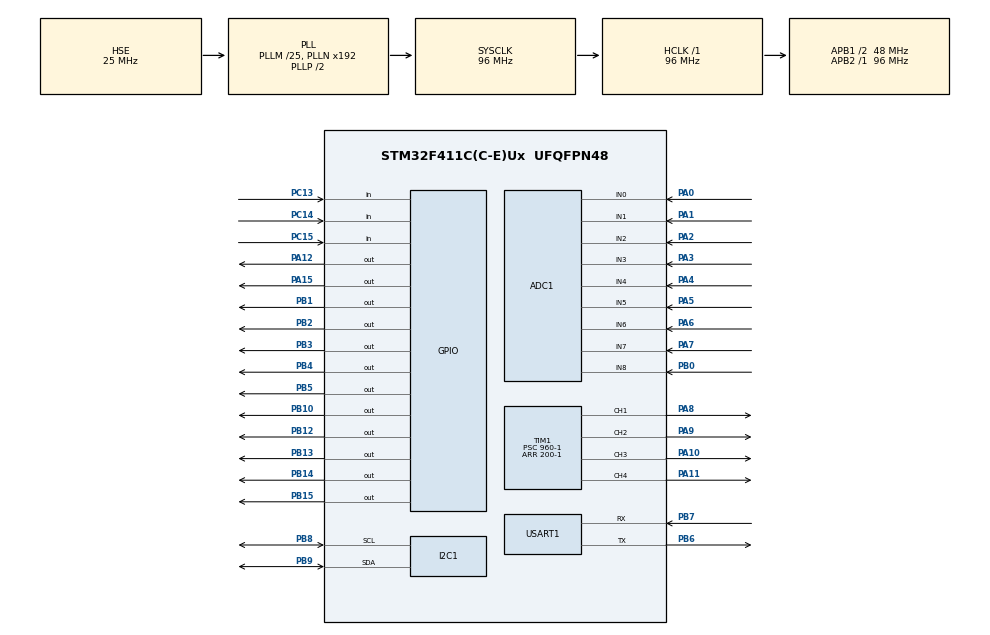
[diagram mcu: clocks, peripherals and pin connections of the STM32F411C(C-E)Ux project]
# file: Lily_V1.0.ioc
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ADC1.Channel-0\#ChannelRegularConversion=ADC_CHANNEL_0
ADC1.Channel-1\#ChannelInjectedConversion=ADC_CHANNEL_0
ADC1.ClockPrescaler=ADC_CLOCK_SYNC_PCLK_DIV4
ADC1.InjNumberOfConversion=1
ADC1.InjectedOffset-1\#ChannelInjectedConversion=0
ADC1.InjectedRank-1\#ChannelInjectedConversion=1
ADC1.NbrOfConversionFlag=1
ADC1.Rank-0\#ChannelRegularConversion=1
ADC1.SamplingTime-0\#ChannelRegularConversion=ADC_SAMPLETIME_480CYCLES
ADC1.SamplingTime-1\#ChannelInjectedConversion=ADC_SAMPLETIME_3CYCLES
ADC1.master=1
Dma.ADC1.0.Direction=DMA_PERIPH_TO_MEMORY
Dma.ADC1.0.FIFOMode=DMA_FIFOMODE_DISABLE
Dma.ADC1.0.Instance=DMA2_Stream0
Dma.ADC1.0.MemDataAlignment=DMA_MDATAALIGN_HALFWORD
Dma.ADC1.0.MemInc=DMA_MINC_ENABLE
Dma.ADC1.0.Mode=DMA_NORMAL
Dma.ADC1.0.PeriphDataAlignment=DMA_PDATAALIGN_HALFWORD
Dma.ADC1.0.PeriphInc=DMA_PINC_DISABLE
Dma.ADC1.0.Priority=DMA_PRIORITY_LOW
Dma.Request0=ADC1
Dma.Request1=USART1_RX
Dma.USART1_RX.1.Direction=DMA_PERIPH_TO_MEMORY
Dma.USART1_RX.1.FIFOMode=DMA_FIFOMODE_DISABLE
Dma.USART1_RX.1.Instance=DMA2_Stream2
Dma.USART1_RX.1.MemDataAlignment=DMA_MDATAALIGN_BYTE
Dma.USART1_RX.1.MemInc=DMA_MINC_ENABLE
Dma.USART1_RX.1.Mode=DMA_NORMAL
Dma.USART1_RX.1.PeriphDataAlignment=DMA_PDATAALIGN_BYTE
Dma.USART1_RX.1.PeriphInc=DMA_PINC_DISABLE
Dma.USART1_RX.1.Priority=DMA_PRIORITY_LOW
Mcu.Family=STM32F4
Mcu.Name=STM32F411C(C-E)Ux
Mcu.Package=UFQFPN48
NVIC.ADC_IRQn=true\:0\:0\:false\:false\:true\:true\:true\:true
NVIC.DMA2_Stream0_IRQn=true\:0\:0\:false\:false\:true\:false\:true\:true
NVIC.DMA2_Stream2_IRQn=true\:0\:0\:false\:false\:true\:false\:true\:true
NVIC.PriorityGroup=NVIC_PRIORITYGROUP_4
NVIC.USART1_IRQn=true\:0\:0\:false\:false\:true\:true\:true\:true
NimaLTD.I-CUBE-EE.3.2.2.EE_MANUAL_CONFIG=true
PA0-WKUP.Signal=ADCx_IN0
PA1.Signal=ADCx_IN1
PA10.Signal=S_TIM1_CH3
PA11.Signal=S_TIM1_CH4
PA12.Signal=GPIO_Output
PA13.Mode=Serial_Wire
PA13.Signal=SYS_JTMS-SWDIO
PA14.Mode=Serial_Wire
PA14.Signal=SYS_JTCK-SWCLK
PA15.Signal=GPIO_Output
PA2.Signal=ADCx_IN2
PA3.Signal=ADCx_IN3
PA4.Signal=ADCx_IN4
PA5.Signal=ADCx_IN5
PA6.Signal=ADCx_IN6
PA7.Signal=ADCx_IN7
PA8.Signal=S_TIM1_CH1
PA9.Signal=S_TIM1_CH2
PB0.Signal=ADCx_IN8
PB1.Signal=GPIO_Output
PB10.Signal=GPIO_Output
PB12.Signal=GPIO_Output
PB13.Signal=GPIO_Output
PB14.Signal=GPIO_Output
PB15.Signal=GPIO_Output
PB2.Signal=GPIO_Output
PB3.Signal=GPIO_Output
PB4.Signal=GPIO_Output
PB5.Signal=GPIO_Output
PB6.Mode=Asynchronous
PB6.Signal=USART1_TX
PB7.Mode=Asynchronous
PB7.Signal=USART1_RX
PB8.Mode=I2C
PB8.Signal=I2C1_SCL
PB9.Mode=I2C
PB9.Signal=I2C1_SDA
PC13-ANTI_TAMP.Signal=GPIO_Input
PC14-OSC32_IN.Signal=GPIO_Input
PC15-OSC32_OUT.Signal=GPIO_Input
PH0\ -\ OSC_IN.Mode=HSE-External-Oscillator
PH0\ -\ OSC_IN.Signal=RCC_OSC_IN
PH1\ -\ OSC_OUT.Mode=HSE-External-Oscillator
PH1\ -\ OSC_OUT.Signal=RCC_OSC_OUT
ProjectManager.HeapSize=0x200
ProjectManager.StackSize=0x400
ProjectManager.TargetToolchain=STM32CubeIDE
RCC.48MHZClocksFreq_Value=48000000
RCC.AHBFreq_Value=96000000
RCC.APB1CLKDivider=RCC_HCLK_DIV2
RCC.APB1Freq_Value=48000000
RCC.APB1TimFreq_Value=96000000
RCC.APB2Freq_Value=96000000
RCC.APB2TimFreq_Value=96000000
RCC.CortexFreq_Value=96000000
RCC.HCLKFreq_Value=96000000
RCC.HSE_VALUE=25000000
RCC.HSI_VALUE=16000000
RCC.LSE_VALUE=32768
RCC.PLLM=25
RCC.PLLSourceVirtual=RCC_PLLSOURCE_HSE
RCC.SYSCLKFreq_VALUE=96000000
RCC.SYSCLKSource=RCC_SYSCLKSOURCE_PLLCLK
RCC.VCOOutputFreq_Value=192000000
SH.ADCx_IN0.0=ADC1_IN0,IN0
SH.ADCx_IN1.0=ADC1_IN1,IN1
SH.ADCx_IN2.0=ADC1_IN2,IN2
SH.ADCx_IN3.0=ADC1_IN3,IN3
SH.ADCx_IN4.0=ADC1_IN4,IN4
SH.ADCx_IN5.0=ADC1_IN5,IN5
SH.ADCx_IN6.0=ADC1_IN6,IN6
SH.ADCx_IN7.0=ADC1_IN7,IN7
SH.ADCx_IN8.0=ADC1_IN8,IN8
SH.S_TIM1_CH1.0=TIM1_CH1,PWM Generation1 CH1
SH.S_TIM1_CH2.0=TIM1_CH2,PWM Generation2 CH2
SH.S_TIM1_CH3.0=TIM1_CH3,PWM Generation3 CH3
SH.S_TIM1_CH4.0=TIM1_CH4,PWM Generation4 CH4
TIM1.Channel-PWM\ Generation1\ CH1=TIM_CHANNEL_1
TIM1.Channel-PWM\ Generation2\ CH2=TIM_CHANNEL_2
TIM1.Channel-PWM\ Generation3\ CH3=TIM_CHANNEL_3
TIM1.Channel-PWM\ Generation4\ CH4=TIM_CHANNEL_4
TIM1.Period=200-1
TIM1.Prescaler=960-1
TIM2.Period=4294967295-1
TIM2.Prescaler=96-1
USART1.VirtualMode=VM_ASYNC
VP_TIM1_VS_ClockSourceINT.Mode=Internal
VP_TIM2_VS_ClockSourceINT.Mode=Internal
board=custom

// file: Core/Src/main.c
/* USER CODE BEGIN Header */
/**
  ******************************************************************************
  * @file           : main.c
  * @brief          : Main program body
  ******************************************************************************
  * @attention
  *
  * Copyright (c) 2025 STMicroelectronics.
  * All rights reserved.
  *
  * This software is licensed under terms that can be found in the LICENSE file
  * in the root directory of this software component.
  * If no LICENSE file comes with this software, it is provided AS-IS.
  *
  ******************************************************************************
  */
/* USER CODE END Header */
#include "main.h"

/* USER CODE BEGIN Includes */
#include "stdlib.h"
#include "math.h"
#include "string.h"
#include <stdio.h>
/* USER CODE END Includes */

/* USER CODE BEGIN PTD */
typedef struct __attribute__((packed)) {
  char header_start;         // Should be '<'
  char header_end;           // Should be '>'
  float position;
  uint8_t sensor_bools[9];    // 1 or 0 for each sensor
} SimplifiedTelemetryPacket;
/* USER CODE END PTD */

ADC_HandleTypeDef hadc1;
DMA_HandleTypeDef hdma_adc1;

I2C_HandleTypeDef hi2c1;

TIM_HandleTypeDef htim1;
TIM_HandleTypeDef htim2;

UART_HandleTypeDef huart1;
DMA_HandleTypeDef hdma_usart1_rx;

/* USER CODE BEGIN PV */

//SENSOR READING FUNCTION
volatile int SensorIndex=0;

GPIO_TypeDef* IR_LED_PORTS[9] = { GPIOB, GPIOB, GPIOB, GPIOB, GPIOA, GPIOA, GPIOB, GPIOB, GPIOB};
uint32_t IR_LED_PINS[9] = {GPIO_PIN_12, GPIO_PIN_13, GPIO_PIN_14, GPIO_PIN_15, GPIO_PIN_12, GPIO_PIN_15, GPIO_PIN_3, GPIO_PIN_4, GPIO_PIN_5};
uint32_t SensorAdcChannel[9] = {
    ADC_CHANNEL_8, // sensor 0 → PB12
    ADC_CHANNEL_7, // sensor 1 → PB13
    ADC_CHANNEL_6, // sensor 2 → PB14
    ADC_CHANNEL_5, // sensor 3 → PB15
    ADC_CHANNEL_4, // sensor 4 → PA12
    ADC_CHANNEL_3, // sensor 5 → PA15
    ADC_CHANNEL_2, // sensor 6 → PB3
    ADC_CHANNEL_1, // sensor 7 → PA4
    ADC_CHANNEL_0, // sensor 8 → PB5
};
volatile int ADC_DONE=0;
volatile uint32_t adc_buf=0;
volatile uint32_t SensorValues[9];
volatile uint32_t sensors_time;
volatile uint32_t run_time;
volatile uint32_t LastPIDTime;

//PID Variables
int thresh=1700;
int weights[9]={-40,-30,-20,-10,0,10,20,30,40};
double Kp = 2.0f, Ki = 0.0f, Kd = 0.5f;
int position,error;
int setpoint=0;
uint8_t base_speed = 60;
uint8_t turn_speed = 50;
int turn=1;

double P, I, D;
double correction = 0, lastInput = 0;
double lastTime = 0;
double integralMin = -25.0, integralMax = 25.0;

volatile uint32_t LastWifiTime=0;
#define RX_BUFFER_SIZE 32
uint8_t rx_buffer[RX_BUFFER_SIZE];

/* USER CODE END PV */

void SystemClock_Config(void);
static void MX_GPIO_Init(void);
static void MX_DMA_Init(void);
static void MX_ADC1_Init(void);
static void MX_TIM1_Init(void);
static void MX_TIM2_Init(void);
static void MX_I2C1_Init(void);
static void MX_USART1_UART_Init(void);
/* USER CODE BEGIN PFP */
void ReadSensors();
void delay_us(uint32_t us);
void HAL_ADC_ConvCpltCallback(ADC_HandleTypeDef* hadc);
int line_data(void);
void computePID(int32_t input);
void setMotorSpeed(uint8_t motor, int32_t speed);
void send_telemetry_data_new(float current_position);
void HAL_UARTEx_RxEventCallback(UART_HandleTypeDef *huart, uint16_t Size);
void handle_received_bluetooth_command(uint8_t* buffer, uint16_t len);
void sendok();
void sendno();
void sendconstants();
void sendSensorValues();
/* USER CODE END PFP */

/* USER CODE BEGIN 0 */
void delay_us(uint32_t us){
    uint32_t start = __HAL_TIM_GET_COUNTER(&htim2);
    while ((__HAL_TIM_GET_COUNTER(&htim2) - start) < us);
}
void HAL_ADC_ConvCpltCallback(ADC_HandleTypeDef* hadc){
	if(hadc -> Instance == ADC1){
		ADC_DONE = 1;
	}

}
void ReadSensors(){
	for(SensorIndex=0;SensorIndex<9;SensorIndex++){
		ADC_ChannelConfTypeDef ADC_Config;
		ADC_Config.Channel=SensorAdcChannel[SensorIndex];
		ADC_Config.Rank=1;
		ADC_Config.SamplingTime=ADC_SAMPLETIME_480CYCLES;
		HAL_ADC_ConfigChannel(&hadc1, &ADC_Config);
//		HAL_GPIO_WritePin(IR_LED_PORTS[SensorIndex], IR_LED_PINS[SensorIndex], SET);
//		delay_us(200);
		HAL_ADC_Stop_DMA(&hadc1);
		ADC_DONE=0;
		HAL_ADC_Start_DMA(&hadc1, (uint32_t *)&adc_buf, 1);
		while(ADC_DONE==0);
		SensorValues[SensorIndex]=adc_buf;
		if (__HAL_ADC_GET_FLAG(&hadc1, ADC_FLAG_OVR)){__HAL_ADC_CLEAR_FLAG(&hadc1, ADC_FLAG_OVR);}
//		HAL_GPIO_WritePin(IR_LED_PORTS[SensorIndex], IR_LED_PINS[SensorIndex], RESET);

	}
}
int line_data(void){
	int sum = 0;
	double weighted_sum = 0;
	int onLine = 0;
	for(int i=0;i<9;i++){
		if(SensorValues[i]> thresh){
			weighted_sum += weights[i];
			sum += 1;
            onLine = 1;
		}
	}
	 if (!onLine) {
		 return 255;  // Line lost condition
	 }

	 return (int)(weighted_sum/sum);

}
void computePID(int32_t input) {
	P = Kp * error;
	I += Ki * error * (HAL_GetTick()-LastPIDTime);
	if (I > integralMax) I = integralMax;
	if (I < integralMin) I = integralMin;
	D = Kd * (input - lastInput) / (HAL_GetTick()-LastPIDTime);

	correction = P + I + D;
	lastInput = input;
	LastPIDTime = HAL_GetTick();
	correction = floor(correction);
	setMotorSpeed(0, base_speed - correction);
	setMotorSpeed(1, base_speed + correction);

}
void setMotorSpeed(uint8_t motor, int32_t speed)
{
	// tim1 ch1- left front, ch2- left back, ch3-right front, ch4- right back
    uint16_t pwm = abs(speed);
    if (pwm > 200) pwm = 200;  // Limit max speed

    if (motor == 0) {  // Left motor
        if (speed < 0) {
            TIM1->CCR3 = pwm;
            TIM1->CCR4 = 0;
        } else {
            TIM1->CCR3 = 0;
            TIM1->CCR4 = pwm;
        }
    }
    else if (motor == 1) {  // Right motor
        if (speed < 0) {
            TIM1->CCR2 = pwm;
            TIM1->CCR1 = 0;
        } else {
            TIM1->CCR2 = 0;
            TIM1->CCR1 = pwm;
        }
    }
}
void send_telemetry_data_new(float current_position) {
    static SimplifiedTelemetryPacket packet;

    packet.header_start = '<';
    packet.header_end = '>';
    packet.position = current_position;

    // Populate the boolean sensor array
    for(int i = 0; i < 9; i++) {
        if (SensorValues[i] > thresh) {
            packet.sensor_bools[i] = 1;
        } else {
            packet.sensor_bools[i] = 0;
        }
    }

    HAL_UART_Transmit(&huart1, (uint8_t*)&packet, sizeof(SimplifiedTelemetryPacket), 100);
}
void HAL_UARTEx_RxEventCallback(UART_HandleTypeDef *huart, uint16_t Size)
{
    if (huart->Instance == USART1)
    {
        // Pass received bytes directly to your parser
//        handle_received_command(rx_buffer, Size);
        handle_received_bluetooth_command(rx_buffer, Size);

        // Restart reception for the next command
        HAL_UARTEx_ReceiveToIdle_IT(&huart1, rx_buffer, RX_BUFFER_SIZE);
    }
}
void handle_received_bluetooth_command(uint8_t* buffer, uint16_t len) {
    // Create a local, null-terminated copy
    char cmd_string[len + 1];
    memcpy(cmd_string, buffer, len);
    cmd_string[len] = '\0';

    // If empty, invalid
    if (len < 2) {
    	sendno();
        return;
    }

    // First character is the key, rest is the value
    char key = cmd_string[0];
    char* value_str = &cmd_string[1];
    float value = atof(value_str);

    switch (key) {
        case 'p': case 'P':
            Kp = value;
            sendok();
            break;
        case 'i': case 'I':
            Ki = value;
            sendok();
            break;
        case 'd': case 'D':
            Kd = value;
            sendok();
            break;
        case 'b': case 'B':
            base_speed = (uint8_t)value;
            sendok();
            break;
        case 't': case 'T':
        	turn = (uint16_t)value;
            sendok();
            break;
        case 'k': case 'K':
        	sendconstants();
        	break;
        case 'v': case 'V':
        	sendSensorValues();
        	break;
        case 's': case 'S':
        	thresh=(int)value;;
             break;
//        case 's':case 'S':
//        	save_to_Flash();
//        	sendok();
//        	break;
//        case 'l':case 'L':
//        	load_from_flash();
//        	sendok();
//        	break;
        default:
        	sendno();
            break;
    }
}

void sendok(){
	HAL_UART_Transmit(&huart1, (uint8_t *)"Updated !\n", strlen("Updated !\n"), 100);
}
void sendno(){
	HAL_UART_Transmit(&huart1, (uint8_t *)"Failed Updating !\n", strlen("Failed Updating !\n"), 100);
}
void sendconstants(){
	char buffer[80];  // make sure size is big enough

	int kp_int = (int)(Kp * 100);
	int ki_int = (int)(Ki * 100);
	int kd_int = (int)(Kd * 100);

	int len = sprintf(buffer, "KP=%d.%02d, KI=%d.%02d, KD=%d.%02d\r\n",
	                  kp_int / 100, abs(kp_int % 100),
	                  ki_int / 100, abs(ki_int % 100),
	                  kd_int / 100, abs(kd_int % 100));

	HAL_UART_Transmit(&huart1, (uint8_t*)buffer, len, 100);
}
void sendSensorValues(){
	char buffer[80];
	int len = sprintf(buffer, "%d %d %d %d %d %d %d %d %d \n",(int)SensorValues[0],(int)SensorValues[1],(int)SensorValues[2],(int)SensorValues[3],(int)SensorValues[4],(int)SensorValues[5],(int)SensorValues[6],(int)SensorValues[7],(int)SensorValues[8]);
	HAL_UART_Transmit(&huart1, (uint8_t*)buffer, len, 100);
}
/* USER CODE END 0 */

int main(void)
{

  /* MCU Configuration--------------------------------------------------------*/

  /* Reset of all peripherals, Initializes the Flash interface and the Systick. */
  HAL_Init();

  /* Configure the system clock */
  SystemClock_Config();

  /* Initialize all configured peripherals */
  MX_GPIO_Init();
  MX_DMA_Init();
  MX_ADC1_Init();
  MX_TIM1_Init();
  MX_TIM2_Init();
  MX_I2C1_Init();
  MX_USART1_UART_Init();
  /* USER CODE BEGIN 2 */
  HAL_TIM_Base_Start(&htim2);
  HAL_GPIO_WritePin(GPIOB, GPIO_PIN_10, GPIO_PIN_SET);
  HAL_GPIO_WritePin(GPIOB, GPIO_PIN_1, GPIO_PIN_SET);

  // Start PWM for motors
  HAL_TIM_PWM_Start(&htim1, TIM_CHANNEL_1);
  HAL_TIM_PWM_Start(&htim1, TIM_CHANNEL_2);
  HAL_TIM_PWM_Start(&htim1, TIM_CHANNEL_3);
  HAL_TIM_PWM_Start(&htim1, TIM_CHANNEL_4);
  /* USER CODE END 2 */

  /* Infinite loop */
  /* USER CODE BEGIN WHILE */
  while (1)
  {

	  uint32_t start_time = HAL_GetTick();
	  ReadSensors();
	  sensors_time = HAL_GetTick()-start_time;

	  position=line_data();
	  if(position>20 && position!=255){turn=1;
	  }else if(position<-20){turn=-1;}

	  if(HAL_GetTick()-LastWifiTime>20){LastWifiTime=HAL_GetTick(); send_telemetry_data_new(position);}

	  while (position ==255){
		  LastPIDTime=HAL_GetTick();
		  ReadSensors();
		  position=line_data();
		  if (turn == 1) { // We were heading into a right turn
			  setMotorSpeed(0, turn_speed);
			  setMotorSpeed(1, -turn_speed);
		  } else if (turn == -1) { // We were heading into a left turn
			  setMotorSpeed(0, -turn_speed);
			  setMotorSpeed(1, turn_speed);
		  }
		  if(HAL_GetTick()-LastWifiTime>20){LastWifiTime=HAL_GetTick(); send_telemetry_data_new(position);}
	  }
	  if(position>0 && position!=255){turn=1;
	  }else if(position<0){turn=-1;}

	  error = -(position);
	  computePID(position);
	  run_time=HAL_GetTick()-start_time;
    /* USER CODE END WHILE */

  }
}

void SystemClock_Config(void)
{
  RCC_OscInitTypeDef RCC_OscInitStruct = {0};
  RCC_ClkInitTypeDef RCC_ClkInitStruct = {0};

  /** Configure the main internal regulator output voltage
  */
  __HAL_RCC_PWR_CLK_ENABLE();
  __HAL_PWR_VOLTAGESCALING_CONFIG(PWR_REGULATOR_VOLTAGE_SCALE1);

  /** Initializes the RCC Oscillators according to the specified parameters
  * in the RCC_OscInitTypeDef structure.
  */
  RCC_OscInitStruct.OscillatorType = RCC_OSCILLATORTYPE_HSE;
  RCC_OscInitStruct.HSEState = RCC_HSE_ON;
  RCC_OscInitStruct.PLL.PLLState = RCC_PLL_ON;
  RCC_OscInitStruct.PLL.PLLSource = RCC_PLLSOURCE_HSE;
  RCC_OscInitStruct.PLL.PLLM = 25;
  RCC_OscInitStruct.PLL.PLLN = 192;
  RCC_OscInitStruct.PLL.PLLP = RCC_PLLP_DIV2;
  RCC_OscInitStruct.PLL.PLLQ = 4;
  if (HAL_RCC_OscConfig(&RCC_OscInitStruct) != HAL_OK)
  {
    Error_Handler();
  }

  /** Initializes the CPU, AHB and APB buses clocks
  */
  RCC_ClkInitStruct.ClockType = RCC_CLOCKTYPE_HCLK|RCC_CLOCKTYPE_SYSCLK
                              |RCC_CLOCKTYPE_PCLK1|RCC_CLOCKTYPE_PCLK2;
  RCC_ClkInitStruct.SYSCLKSource = RCC_SYSCLKSOURCE_PLLCLK;
  RCC_ClkInitStruct.AHBCLKDivider = RCC_SYSCLK_DIV1;
  RCC_ClkInitStruct.APB1CLKDivider = RCC_HCLK_DIV2;
  RCC_ClkInitStruct.APB2CLKDivider = RCC_HCLK_DIV1;

  if (HAL_RCC_ClockConfig(&RCC_ClkInitStruct, FLASH_LATENCY_3) != HAL_OK)
  {
    Error_Handler();
  }
}

static void MX_ADC1_Init(void)
{

  ADC_ChannelConfTypeDef sConfig = {0};
  ADC_InjectionConfTypeDef sConfigInjected = {0};

  /** Configure the global features of the ADC (Clock, Resolution, Data Alignment and number of conversion)
  */
  hadc1.Instance = ADC1;
  hadc1.Init.ClockPrescaler = ADC_CLOCK_SYNC_PCLK_DIV4;
  hadc1.Init.Resolution = ADC_RESOLUTION_12B;
  hadc1.Init.ScanConvMode = DISABLE;
  hadc1.Init.ContinuousConvMode = DISABLE;
  hadc1.Init.DiscontinuousConvMode = DISABLE;
  hadc1.Init.ExternalTrigConvEdge = ADC_EXTERNALTRIGCONVEDGE_NONE;
  hadc1.Init.ExternalTrigConv = ADC_SOFTWARE_START;
  hadc1.Init.DataAlign = ADC_DATAALIGN_RIGHT;
  hadc1.Init.NbrOfConversion = 1;
  hadc1.Init.DMAContinuousRequests = DISABLE;
  hadc1.Init.EOCSelection = ADC_EOC_SINGLE_CONV;
  if (HAL_ADC_Init(&hadc1) != HAL_OK)
  {
    Error_Handler();
  }

  /** Configure for the selected ADC regular channel its corresponding rank in the sequencer and its sample time.
  */
  sConfig.Channel = ADC_CHANNEL_0;
  sConfig.Rank = 1;
  sConfig.SamplingTime = ADC_SAMPLETIME_480CYCLES;
  if (HAL_ADC_ConfigChannel(&hadc1, &sConfig) != HAL_OK)
  {
    Error_Handler();
  }

  /** Configures for the selected ADC injected channel its corresponding rank in the sequencer and its sample time
  */
  sConfigInjected.InjectedChannel = ADC_CHANNEL_0;
  sConfigInjected.InjectedRank = 1;
  sConfigInjected.InjectedNbrOfConversion = 1;
  sConfigInjected.InjectedSamplingTime = ADC_SAMPLETIME_3CYCLES;
  sConfigInjected.ExternalTrigInjecConvEdge = ADC_EXTERNALTRIGINJECCONVEDGE_NONE;
  sConfigInjected.ExternalTrigInjecConv = ADC_INJECTED_SOFTWARE_START;
  sConfigInjected.AutoInjectedConv = DISABLE;
  sConfigInjected.InjectedDiscontinuousConvMode = DISABLE;
  sConfigInjected.InjectedOffset = 0;
  if (HAL_ADCEx_InjectedConfigChannel(&hadc1, &sConfigInjected) != HAL_OK)
  {
    Error_Handler();
  }

}

static void MX_I2C1_Init(void)
{

  hi2c1.Instance = I2C1;
  hi2c1.Init.ClockSpeed = 100000;
  hi2c1.Init.DutyCycle = I2C_DUTYCYCLE_2;
  hi2c1.Init.OwnAddress1 = 0;
  hi2c1.Init.AddressingMode = I2C_ADDRESSINGMODE_7BIT;
  hi2c1.Init.DualAddressMode = I2C_DUALADDRESS_DISABLE;
  hi2c1.Init.OwnAddress2 = 0;
  hi2c1.Init.GeneralCallMode = I2C_GENERALCALL_DISABLE;
  hi2c1.Init.NoStretchMode = I2C_NOSTRETCH_DISABLE;
  if (HAL_I2C_Init(&hi2c1) != HAL_OK)
  {
    Error_Handler();
  }

}

static void MX_TIM1_Init(void)
{

  TIM_ClockConfigTypeDef sClockSourceConfig = {0};
  TIM_MasterConfigTypeDef sMasterConfig = {0};
  TIM_OC_InitTypeDef sConfigOC = {0};
  TIM_BreakDeadTimeConfigTypeDef sBreakDeadTimeConfig = {0};

  htim1.Instance = TIM1;
  htim1.Init.Prescaler = 960-1;
  htim1.Init.CounterMode = TIM_COUNTERMODE_UP;
  htim1.Init.Period = 200-1;
  htim1.Init.ClockDivision = TIM_CLOCKDIVISION_DIV1;
  htim1.Init.RepetitionCounter = 0;
  htim1.Init.AutoReloadPreload = TIM_AUTORELOAD_PRELOAD_DISABLE;
  if (HAL_TIM_Base_Init(&htim1) != HAL_OK)
  {
    Error_Handler();
  }
  sClockSourceConfig.ClockSource = TIM_CLOCKSOURCE_INTERNAL;
  if (HAL_TIM_ConfigClockSource(&htim1, &sClockSourceConfig) != HAL_OK)
  {
    Error_Handler();
  }
  if (HAL_TIM_PWM_Init(&htim1) != HAL_OK)
  {
    Error_Handler();
  }
  sMasterConfig.MasterOutputTrigger = TIM_TRGO_RESET;
  sMasterConfig.MasterSlaveMode = TIM_MASTERSLAVEMODE_DISABLE;
  if (HAL_TIMEx_MasterConfigSynchronization(&htim1, &sMasterConfig) != HAL_OK)
  {
    Error_Handler();
  }
  sConfigOC.OCMode = TIM_OCMODE_PWM1;
  sConfigOC.Pulse = 0;
  sConfigOC.OCPolarity = TIM_OCPOLARITY_HIGH;
  sConfigOC.OCNPolarity = TIM_OCNPOLARITY_HIGH;
  sConfigOC.OCFastMode = TIM_OCFAST_DISABLE;
  sConfigOC.OCIdleState = TIM_OCIDLESTATE_RESET;
  sConfigOC.OCNIdleState = TIM_OCNIDLESTATE_RESET;
  if (HAL_TIM_PWM_ConfigChannel(&htim1, &sConfigOC, TIM_CHANNEL_1) != HAL_OK)
  {
    Error_Handler();
  }
  if (HAL_TIM_PWM_ConfigChannel(&htim1, &sConfigOC, TIM_CHANNEL_2) != HAL_OK)
  {
    Error_Handler();
  }
  if (HAL_TIM_PWM_ConfigChannel(&htim1, &sConfigOC, TIM_CHANNEL_3) != HAL_OK)
  {
    Error_Handler();
  }
  if (HAL_TIM_PWM_ConfigChannel(&htim1, &sConfigOC, TIM_CHANNEL_4) != HAL_OK)
  {
    Error_Handler();
  }
  sBreakDeadTimeConfig.OffStateRunMode = TIM_OSSR_DISABLE;
  sBreakDeadTimeConfig.OffStateIDLEMode = TIM_OSSI_DISABLE;
  sBreakDeadTimeConfig.LockLevel = TIM_LOCKLEVEL_OFF;
  sBreakDeadTimeConfig.DeadTime = 0;
  sBreakDeadTimeConfig.BreakState = TIM_BREAK_DISABLE;
  sBreakDeadTimeConfig.BreakPolarity = TIM_BREAKPOLARITY_HIGH;
  sBreakDeadTimeConfig.AutomaticOutput = TIM_AUTOMATICOUTPUT_DISABLE;
  if (HAL_TIMEx_ConfigBreakDeadTime(&htim1, &sBreakDeadTimeConfig) != HAL_OK)
  {
    Error_Handler();
  }
  HAL_TIM_MspPostInit(&htim1);

}

static void MX_TIM2_Init(void)
{

  TIM_ClockConfigTypeDef sClockSourceConfig = {0};
  TIM_MasterConfigTypeDef sMasterConfig = {0};

  htim2.Instance = TIM2;
  htim2.Init.Prescaler = 96-1;
  htim2.Init.CounterMode = TIM_COUNTERMODE_UP;
  htim2.Init.Period = 4294967295-1;
  htim2.Init.ClockDivision = TIM_CLOCKDIVISION_DIV1;
  htim2.Init.AutoReloadPreload = TIM_AUTORELOAD_PRELOAD_DISABLE;
  if (HAL_TIM_Base_Init(&htim2) != HAL_OK)
  {
    Error_Handler();
  }
  sClockSourceConfig.ClockSource = TIM_CLOCKSOURCE_INTERNAL;
  if (HAL_TIM_ConfigClockSource(&htim2, &sClockSourceConfig) != HAL_OK)
  {
    Error_Handler();
  }
  sMasterConfig.MasterOutputTrigger = TIM_TRGO_RESET;
  sMasterConfig.MasterSlaveMode = TIM_MASTERSLAVEMODE_DISABLE;
  if (HAL_TIMEx_MasterConfigSynchronization(&htim2, &sMasterConfig) != HAL_OK)
  {
    Error_Handler();
  }

}

static void MX_USART1_UART_Init(void)
{

  huart1.Instance = USART1;
  huart1.Init.BaudRate = 115200;
  huart1.Init.WordLength = UART_WORDLENGTH_8B;
  huart1.Init.StopBits = UART_STOPBITS_1;
  huart1.Init.Parity = UART_PARITY_NONE;
  huart1.Init.Mode = UART_MODE_TX_RX;
  huart1.Init.HwFlowCtl = UART_HWCONTROL_NONE;
  huart1.Init.OverSampling = UART_OVERSAMPLING_16;
  if (HAL_UART_Init(&huart1) != HAL_OK)
  {
    Error_Handler();
  }

}

static void MX_DMA_Init(void)
{

  /* DMA controller clock enable */
  __HAL_RCC_DMA2_CLK_ENABLE();

  /* DMA interrupt init */
  /* DMA2_Stream0_IRQn interrupt configuration */
  HAL_NVIC_SetPriority(DMA2_Stream0_IRQn, 0, 0);
  HAL_NVIC_EnableIRQ(DMA2_Stream0_IRQn);
  /* DMA2_Stream2_IRQn interrupt configuration */
  HAL_NVIC_SetPriority(DMA2_Stream2_IRQn, 0, 0);
  HAL_NVIC_EnableIRQ(DMA2_Stream2_IRQn);

}

static void MX_GPIO_Init(void)
{
  GPIO_InitTypeDef GPIO_InitStruct = {0};

  /* GPIO Ports Clock Enable */
  __HAL_RCC_GPIOC_CLK_ENABLE();
  __HAL_RCC_GPIOH_CLK_ENABLE();
  __HAL_RCC_GPIOA_CLK_ENABLE();
  __HAL_RCC_GPIOB_CLK_ENABLE();

  /*Configure GPIO pin Output Level */
  HAL_GPIO_WritePin(GPIOB, GPIO_PIN_1|GPIO_PIN_2|GPIO_PIN_10|GPIO_PIN_12
                          |GPIO_PIN_13|GPIO_PIN_14|GPIO_PIN_15|GPIO_PIN_3
                          |GPIO_PIN_4|GPIO_PIN_5, GPIO_PIN_RESET);

  /*Configure GPIO pin Output Level */
  HAL_GPIO_WritePin(GPIOA, GPIO_PIN_12|GPIO_PIN_15, GPIO_PIN_RESET);

  /*Configure GPIO pins : PC13 PC14 PC15 */
  GPIO_InitStruct.Pin = GPIO_PIN_13|GPIO_PIN_14|GPIO_PIN_15;
  GPIO_InitStruct.Mode = GPIO_MODE_INPUT;
  GPIO_InitStruct.Pull = GPIO_NOPULL;
  HAL_GPIO_Init(GPIOC, &GPIO_InitStruct);

  /*Configure GPIO pins : PB1 PB2 PB10 PB12
                           PB13 PB14 PB15 PB3
                           PB4 PB5 */
  GPIO_InitStruct.Pin = GPIO_PIN_1|GPIO_PIN_2|GPIO_PIN_10|GPIO_PIN_12
                          |GPIO_PIN_13|GPIO_PIN_14|GPIO_PIN_15|GPIO_PIN_3
                          |GPIO_PIN_4|GPIO_PIN_5;
  GPIO_InitStruct.Mode = GPIO_MODE_OUTPUT_PP;
  GPIO_InitStruct.Pull = GPIO_NOPULL;
  GPIO_InitStruct.Speed = GPIO_SPEED_FREQ_LOW;
  HAL_GPIO_Init(GPIOB, &GPIO_InitStruct);

  /*Configure GPIO pins : PA12 PA15 */
  GPIO_InitStruct.Pin = GPIO_PIN_12|GPIO_PIN_15;
  GPIO_InitStruct.Mode = GPIO_MODE_OUTPUT_PP;
  GPIO_InitStruct.Pull = GPIO_NOPULL;
  GPIO_InitStruct.Speed = GPIO_SPEED_FREQ_LOW;
  HAL_GPIO_Init(GPIOA, &GPIO_InitStruct);

}

void Error_Handler(void)
{
  __disable_irq();
  while (1)
  {
  }
}
